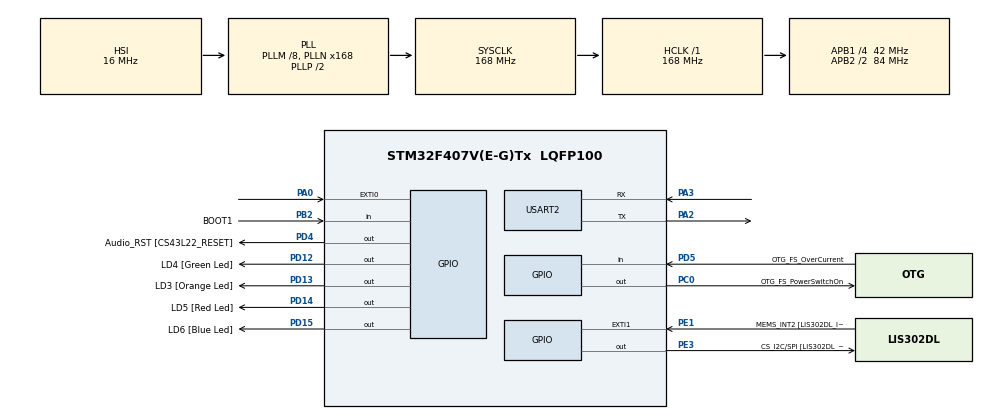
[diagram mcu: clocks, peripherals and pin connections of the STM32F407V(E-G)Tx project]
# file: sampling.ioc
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ADC1.Channel-0\#ChannelRegularConversion=ADC_CHANNEL_TEMPSENSOR
ADC1.ClockPrescaler=ADC_CLOCK_SYNC_PCLK_DIV4
ADC1.ContinuousConvMode=DISABLE
ADC1.DMAContinuousRequests=DISABLE
ADC1.DataAlign=ADC_DATAALIGN_RIGHT
ADC1.DiscontinuousConvMode=DISABLE
ADC1.EOCSelection=ADC_EOC_SINGLE_CONV
ADC1.EnableAnalogWatchDog=false
ADC1.ExternalTrigConv=ADC_EXTERNALTRIGCONV_T1_CC1
ADC1.ExternalTrigConvEdge=ADC_EXTERNALTRIGCONVEDGE_RISINGFALLING
ADC1.InjNumberOfConversion=0
ADC1.NbrOfConversion=1
ADC1.NbrOfConversionFlag=1
ADC1.Rank-0\#ChannelRegularConversion=1
ADC1.Resolution=ADC_RESOLUTION_12B
ADC1.SamplingTime-0\#ChannelRegularConversion=ADC_SAMPLETIME_3CYCLES
ADC1.ScanConvMode=DISABLE
ADC1.master=1
Dma.ADC1.0.Direction=DMA_PERIPH_TO_MEMORY
Dma.ADC1.0.FIFOMode=DMA_FIFOMODE_DISABLE
Dma.ADC1.0.Instance=DMA2_Stream0
Dma.ADC1.0.MemDataAlignment=DMA_MDATAALIGN_HALFWORD
Dma.ADC1.0.MemInc=DMA_MINC_ENABLE
Dma.ADC1.0.Mode=DMA_NORMAL
Dma.ADC1.0.PeriphDataAlignment=DMA_PDATAALIGN_HALFWORD
Dma.ADC1.0.PeriphInc=DMA_PINC_DISABLE
Dma.ADC1.0.Priority=DMA_PRIORITY_LOW
Dma.Request0=ADC1
Mcu.Family=STM32F4
Mcu.Name=STM32F407V(E-G)Tx
Mcu.Package=LQFP100
NVIC.ADC_IRQn=true\:0\:0\:false\:false\:true\:true\:true
NVIC.DMA2_Stream0_IRQn=true\:0\:0\:false\:false\:true\:false\:true
NVIC.EXTI0_IRQn=true\:0\:0\:false\:false\:true\:true\:true
NVIC.PriorityGroup=NVIC_PRIORITYGROUP_0
NVIC.TIM1_CC_IRQn=true\:0\:0\:false\:false\:true\:true\:true
NVIC.TIM2_IRQn=true\:0\:0\:false\:false\:true\:true\:true
NVIC.USART2_IRQn=true\:0\:0\:false\:false\:true\:true\:true
PA0-WKUP.GPIO_ModeDefaultEXTI=GPIO_MODE_IT_RISING
PA0-WKUP.GPIO_PuPd=GPIO_PULLDOWN
PA0-WKUP.Signal=GPXTI0
PA10.GPIO_Label=OTG_FS_ID
PA10.GPIO_Mode=GPIO_MODE_AF_PP
PA10.GPIO_PuPd=GPIO_NOPULL
PA10.GPIO_Speed=GPIO_SPEED_FREQ_LOW
PA10.Signal=USB_OTG_FS_ID
PA11.GPIO_Label=OTG_FS_DM
PA11.GPIO_Mode=GPIO_MODE_AF_PP
PA11.GPIO_PuPd=GPIO_NOPULL
PA11.GPIO_Speed=GPIO_SPEED_FREQ_LOW
PA11.Signal=USB_OTG_FS_DM
PA12.GPIO_Label=OTG_FS_DP
PA12.GPIO_Mode=GPIO_MODE_AF_PP
PA12.GPIO_PuPd=GPIO_NOPULL
PA12.GPIO_Speed=GPIO_SPEED_FREQ_LOW
PA12.Signal=USB_OTG_FS_DP
PA13.GPIO_Label=SWDIO
PA13.Signal=SYS_JTMS-SWDIO
PA14.GPIO_Label=SWCLK
PA14.Signal=SYS_JTCK-SWCLK
PA2.Mode=Asynchronous
PA2.Signal=USART2_TX
PA3.Mode=Asynchronous
PA3.Signal=USART2_RX
PA4.GPIO_Label=I2S3_WS [CS43L22_LRCK]
PA4.GPIO_Mode=GPIO_MODE_AF_PP
PA4.GPIO_PuPd=GPIO_NOPULL
PA4.GPIO_Speed=GPIO_SPEED_FREQ_LOW
PA4.Signal=I2S3_WS
PA5.GPIO_Label=SPI1_SCK [LIS302DL_SCL/SPC]
PA5.GPIO_Mode=GPIO_MODE_AF_PP
PA5.GPIO_PuPd=GPIO_NOPULL
PA5.GPIO_Speed=GPIO_SPEED_FREQ_LOW
PA5.Signal=SPI1_SCK
PA6.GPIO_Label=SPI1_MISO [LIS302DL_SDO]
PA6.GPIO_Mode=GPIO_MODE_AF_PP
PA6.GPIO_PuPd=GPIO_NOPULL
PA6.GPIO_Speed=GPIO_SPEED_FREQ_LOW
PA6.Signal=SPI1_MISO
PA7.GPIO_Label=SPI1_MOSI [LIS302DL_SDA/SDI/SDO]
PA7.GPIO_Mode=GPIO_MODE_AF_PP
PA7.GPIO_PuPd=GPIO_NOPULL
PA7.GPIO_Speed=GPIO_SPEED_FREQ_LOW
PA7.Signal=SPI1_MOSI
PA9.GPIO_Label=VBUS_FS
PA9.GPIO_Mode=GPIO_MODE_INPUT
PA9.GPIO_PuPd=GPIO_NOPULL
PA9.Signal=USB_OTG_FS_VBUS
PB10.GPIO_Label=CLK_IN [MP45DT02_CLK]
PB10.GPIO_Mode=GPIO_MODE_AF_PP
PB10.GPIO_PuPd=GPIO_NOPULL
PB10.GPIO_Speed=GPIO_SPEED_FREQ_LOW
PB10.Signal=I2S2_CK
PB2.GPIO_Label=BOOT1
PB2.GPIO_Mode=GPIO_MODE_INPUT
PB2.GPIO_PuPd=GPIO_NOPULL
PB2.Signal=GPIO_Input
PB3.GPIO_Label=SWO
PB3.Signal=SYS_JTDO-SWO
PB6.GPIO_Label=Audio_SCL [CS43L22_SCL]
PB6.GPIO_Mode=GPIO_MODE_AF_OD
PB6.GPIO_PuPd=GPIO_NOPULL
PB6.GPIO_Speed=GPIO_SPEED_FREQ_LOW
PB6.Signal=I2C1_SCL
PB9.GPIO_Label=Audio_SDA [CS43L22_SDA]
PB9.GPIO_Mode=GPIO_MODE_AF_OD
PB9.GPIO_PuPd=GPIO_NOPULL
PB9.GPIO_Speed=GPIO_SPEED_FREQ_LOW
PB9.Signal=I2C1_SDA
PC0.GPIO_Label=OTG_FS_PowerSwitchOn
PC0.GPIO_PuPd=GPIO_NOPULL
PC0.GPIO_Speed=GPIO_SPEED_FREQ_LOW
PC0.PinState=GPIO_PIN_SET
PC0.Signal=GPIO_Output
PC10.GPIO_Label=I2S3_SCK [CS43L22_SCLK]
PC10.GPIO_Mode=GPIO_MODE_AF_PP
PC10.GPIO_PuPd=GPIO_NOPULL
PC10.GPIO_Speed=GPIO_SPEED_FREQ_LOW
PC10.Signal=I2S3_CK
PC12.GPIO_Label=I2S3_SD [CS43L22_SDIN]
PC12.GPIO_Mode=GPIO_MODE_AF_PP
PC12.GPIO_PuPd=GPIO_NOPULL
PC12.GPIO_Speed=GPIO_SPEED_FREQ_LOW
PC12.Signal=I2S3_SD
PC14-OSC32_IN.GPIO_Label=PC14-OSC32_IN
PC14-OSC32_IN.Signal=RCC_OSC32_IN
PC15-OSC32_OUT.GPIO_Label=PC15-OSC32_OUT
PC15-OSC32_OUT.Signal=RCC_OSC32_OUT
PC3.GPIO_Label=PDM_OUT [MP45DT02_DOUT]
PC3.GPIO_Mode=GPIO_MODE_AF_PP
PC3.GPIO_PuPd=GPIO_NOPULL
PC3.GPIO_Speed=GPIO_SPEED_FREQ_LOW
PC3.Signal=I2S2_SD
PC7.GPIO_Label=I2S3_MCK [CS43L22_MCLK]
PC7.GPIO_Mode=GPIO_MODE_AF_PP
PC7.GPIO_PuPd=GPIO_NOPULL
PC7.GPIO_Speed=GPIO_SPEED_FREQ_LOW
PC7.Signal=I2S3_MCK
PD12.GPIO_Label=LD4 [Green Led]
PD12.GPIO_PuPd=GPIO_NOPULL
PD12.GPIO_Speed=GPIO_SPEED_FREQ_LOW
PD12.Signal=GPIO_Output
PD13.GPIO_Label=LD3 [Orange Led]
PD13.GPIO_PuPd=GPIO_NOPULL
PD13.GPIO_Speed=GPIO_SPEED_FREQ_LOW
PD13.Signal=GPIO_Output
PD14.GPIO_Label=LD5 [Red Led]
PD14.GPIO_PuPd=GPIO_NOPULL
PD14.GPIO_Speed=GPIO_SPEED_FREQ_LOW
PD14.Signal=GPIO_Output
PD15.GPIO_Label=LD6 [Blue Led]
PD15.GPIO_PuPd=GPIO_NOPULL
PD15.GPIO_Speed=GPIO_SPEED_FREQ_LOW
PD15.Signal=GPIO_Output
PD4.GPIO_Label=Audio_RST [CS43L22_RESET]
PD4.GPIO_PuPd=GPIO_NOPULL
PD4.GPIO_Speed=GPIO_SPEED_FREQ_LOW
PD4.Signal=GPIO_Output
PD5.GPIO_Label=OTG_FS_OverCurrent
PD5.GPIO_Mode=GPIO_MODE_INPUT
PD5.GPIO_PuPd=GPIO_NOPULL
PD5.Signal=GPIO_Input
PE1.GPIO_Label=MEMS_INT2 [LIS302DL_INT2]
PE1.GPIO_ModeDefaultEXTI=GPIO_MODE_EVT_RISING
PE1.GPIO_PuPd=GPIO_NOPULL
PE1.Signal=GPXTI1
PE3.GPIO_Label=CS_I2C/SPI [LIS302DL_CS_I2C/SPI]
PE3.GPIO_PuPd=GPIO_NOPULL
PE3.GPIO_Speed=GPIO_SPEED_FREQ_LOW
PE3.Signal=GPIO_Output
PH0-OSC_IN.GPIO_Label=PH0-OSC_IN
PH0-OSC_IN.Signal=RCC_OSC_IN
PH1-OSC_OUT.GPIO_Label=PH1-OSC_OUT
PH1-OSC_OUT.Signal=RCC_OSC_OUT
ProjectManager.HeapSize=0x200
ProjectManager.StackSize=0x400
ProjectManager.TargetToolchain=MDK-ARM V5
RCC.48MHZClocksFreq_Value=48000000
RCC.AHBFreq_Value=168000000
RCC.APB1CLKDivider=RCC_HCLK_DIV4
RCC.APB1Freq_Value=42000000
RCC.APB1TimFreq_Value=84000000
RCC.APB2CLKDivider=RCC_HCLK_DIV2
RCC.APB2Freq_Value=84000000
RCC.APB2TimFreq_Value=168000000
RCC.CortexFreq_Value=168000000
RCC.HCLKFreq_Value=168000000
RCC.HSE_VALUE=8000000
RCC.HSI_VALUE=16000000
RCC.LSE_VALUE=32768
RCC.PLLM=8
RCC.PLLN=168
RCC.PLLQ=7
RCC.SYSCLKFreq_VALUE=168000000
RCC.SYSCLKSource=RCC_SYSCLKSOURCE_PLLCLK
RCC.VCOOutputFreq_Value=336000000
TIM1.Channel-Output\ Compare1\ No\ Output=TIM_CHANNEL_1
TIM1.OCMode_1=TIM_OCMODE_TOGGLE
TIM2.Period=999
TIM2.Prescaler=0
USART2.VirtualMode=VM_ASYNC
VP_ADC1_TempSens_Input.Mode=IN-TempSens
VP_TIM1_VS_ClockSourceINT.Mode=Internal
VP_TIM1_VS_no_output1.Mode=Output Compare1 No Output
VP_TIM2_VS_ClockSourceINT.Mode=Internal
board=STM32F407G-DISC1

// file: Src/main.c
/* USER CODE BEGIN Header */
/**
  ******************************************************************************
  * @file           : main.c
  * @brief          : Main program body
  ******************************************************************************
  * @attention
  *
  * <h2><center>&copy; Copyright (c) 2019 STMicroelectronics.
  * All rights reserved.</center></h2>
  *
  * This software component is licensed by ST under BSD 3-Clause license,
  * the "License"; You may not use this file except in compliance with the
  * License. You may obtain a copy of the License at:
  *                        opensource.org/licenses/BSD-3-Clause
  *
  ******************************************************************************
  */
/* USER CODE END Header */

#include "main.h"
#include "stm32f4xx_hal.h"
/* USER CODE BEGIN Includes */
#include "string.h"
#include "stdio.h"
#include "math.h"
/* USER CODE END Includes */

ADC_HandleTypeDef hadc1;
DMA_HandleTypeDef hdma_adc1;

TIM_HandleTypeDef htim1;
TIM_HandleTypeDef htim2;

UART_HandleTypeDef huart2;

/* USER CODE BEGIN PV */
/* Private variables ---------------------------------------------------------*/
extern int flag;
int flag = 0;
extern int N;
extern double T;
extern double tow;
extern uint16_t buffer[1000];
uint16_t buffer[1000];
extern char line[128];
extern int counter;
float variance=0.0;
float med=0.0;
/* USER CODE END PV */

void SystemClock_Config(void);
static void MX_GPIO_Init(void);
static void MX_DMA_Init(void);
static void MX_TIM1_Init(void);
static void MX_TIM2_Init(void);
static void MX_USART2_UART_Init(void);
static void MX_ADC1_Init(void);
/* USER CODE BEGIN PFP */
/* Private function prototypes -----------------------------------------------*/

float convert (uint32_t val)
{
	float v25=val/0.76;
	float avg_slope=.0025;
	float temp=(((float)val-v25)*avg_slope)+25;
	return temp;

}
float mean()
{
}

float median(uint16_t* buffer, int N)
{
  int swapped = 1;
  int j = 0;
	uint32_t temp;

  while (swapped)
	{
    swapped = 0;
    j++;
    for (int i = 0; i < N - j; i++) {
      if (buffer[i] > buffer[i + 1]) {
        temp = buffer[i];
        buffer[i] = buffer[i + 1];
        buffer[i + 1] = temp;
        swapped = 0;
      }
    }
  }
	if(N %2 == 0){
		temp = (buffer[N/2] + buffer[(N/2) +1])/2;
	}
	else
		temp = buffer[(N+1)/2];
	return convert(temp);
}

float var (float fval)
{
	float var = 0.0;
	for(int i=0;i < N; i++)
	{
		var = pow(((float)buffer[i] - fval),2) + var;
	}
	var = (var/(float)N);
	var = pow(var,0.5);
	var=convert(var);
	return var;
}

void printline()
{
	if(hdma_adc1.State==HAL_DMA_STATE_READY)
		{

			uint32_t val=0;

			for(int i=0;i < N; i++)
				val+=buffer[i];
			float fval=(float)val/(float)N;
			float temp = convert(fval);

			variance = var(fval);
			med = median(buffer, N);
			sprintf(line,"sample=%d , temprature=%f , var=%f , median = %f",val,temp,variance,med);

			HAL_UART_Transmit(&huart2,(unsigned char*)line,strlen(line),100);
			HAL_UART_Transmit(&huart2,(unsigned char*)"\n",1,100);

			HAL_ADC_Stop_DMA(&hadc1);
			HAL_ADC_Start_DMA(&hadc1,(uint32_t *)buffer,N);
		}
}

/* USER CODE END PFP */

int main(void)
{

  /* MCU Configuration--------------------------------------------------------*/

  /* Reset of all peripherals, Initializes the Flash interface and the Systick. */
  HAL_Init();

  /* Configure the system clock */
  SystemClock_Config();

  /* Initialize all configured peripherals */
  MX_GPIO_Init();
  MX_DMA_Init();
  MX_TIM1_Init();
  MX_TIM2_Init();
  MX_USART2_UART_Init();
  MX_ADC1_Init();
  /* USER CODE BEGIN 2 */

	//while (HAL_UART_Receive(&huart2,(uint8_t *)array,3,100)!= HAL_OK){};
	//printline("Hi!");

  /* USER CODE END 2 */

  /* Infinite loop */
  while (1)
  {

    /* USER CODE BEGIN 3 */
//	if(active_mode)
//		process_dma();

  }

}

void HAL_TIM_PeriodElapsedCallback(TIM_HandleTypeDef *htim)
{
	if(htim == &htim2)
	{
		HAL_UART_Transmit(&huart2,(uint8_t*)"mean\n",5,100);
		printline();
		counter++;
		if( counter > (int)(tow/T) )
	 {
			HAL_UART_Transmit(&huart2,(uint8_t*)"end\n",4,100);

			HAL_TIM_Base_Stop(&htim1);
			HAL_TIM_OC_Stop_IT(&htim1,TIM_CHANNEL_1);

			HAL_TIM_Base_Stop_IT(&htim2);
		  counter = 0;
			flag = 0;
		}
	}
}
  /* USER CODE END 3 */

void SystemClock_Config(void)
{
  RCC_OscInitTypeDef RCC_OscInitStruct = {0};
  RCC_ClkInitTypeDef RCC_ClkInitStruct = {0};

  /** Configure the main internal regulator output voltage
  */
  __HAL_RCC_PWR_CLK_ENABLE();
  __HAL_PWR_VOLTAGESCALING_CONFIG(PWR_REGULATOR_VOLTAGE_SCALE1);
  /** Initializes the CPU, AHB and APB busses clocks
  */
  RCC_OscInitStruct.OscillatorType = RCC_OSCILLATORTYPE_HSI;
  RCC_OscInitStruct.HSIState = RCC_HSI_ON;
  RCC_OscInitStruct.HSICalibrationValue = RCC_HSICALIBRATION_DEFAULT;
  RCC_OscInitStruct.PLL.PLLState = RCC_PLL_ON;
  RCC_OscInitStruct.PLL.PLLSource = RCC_PLLSOURCE_HSI;
  RCC_OscInitStruct.PLL.PLLM = 8;
  RCC_OscInitStruct.PLL.PLLN = 168;
  RCC_OscInitStruct.PLL.PLLP = RCC_PLLP_DIV2;
  RCC_OscInitStruct.PLL.PLLQ = 7;
  if (HAL_RCC_OscConfig(&RCC_OscInitStruct) != HAL_OK)
  {
    Error_Handler();
  }
  /** Initializes the CPU, AHB and APB busses clocks
  */
  RCC_ClkInitStruct.ClockType = RCC_CLOCKTYPE_HCLK|RCC_CLOCKTYPE_SYSCLK
                              |RCC_CLOCKTYPE_PCLK1|RCC_CLOCKTYPE_PCLK2;
  RCC_ClkInitStruct.SYSCLKSource = RCC_SYSCLKSOURCE_PLLCLK;
  RCC_ClkInitStruct.AHBCLKDivider = RCC_SYSCLK_DIV1;
  RCC_ClkInitStruct.APB1CLKDivider = RCC_HCLK_DIV4;
  RCC_ClkInitStruct.APB2CLKDivider = RCC_HCLK_DIV2;

  if (HAL_RCC_ClockConfig(&RCC_ClkInitStruct, FLASH_LATENCY_5) != HAL_OK)
  {
    Error_Handler();
  }
}

static void MX_ADC1_Init(void)
{

  ADC_ChannelConfTypeDef sConfig = {0};

  /** Configure the global features of the ADC (Clock, Resolution, Data Alignment and number of conversion)
  */
  hadc1.Instance = ADC1;
  hadc1.Init.ClockPrescaler = ADC_CLOCK_SYNC_PCLK_DIV4;
  hadc1.Init.Resolution = ADC_RESOLUTION_12B;
  hadc1.Init.ScanConvMode = DISABLE;
  hadc1.Init.ContinuousConvMode = DISABLE;
  hadc1.Init.DiscontinuousConvMode = DISABLE;
  hadc1.Init.ExternalTrigConvEdge = ADC_EXTERNALTRIGCONVEDGE_RISINGFALLING;
  hadc1.Init.ExternalTrigConv = ADC_EXTERNALTRIGCONV_T1_CC1;
  hadc1.Init.DataAlign = ADC_DATAALIGN_RIGHT;
  hadc1.Init.NbrOfConversion = 1;
  hadc1.Init.DMAContinuousRequests = DISABLE;
  hadc1.Init.EOCSelection = ADC_EOC_SINGLE_CONV;
  if (HAL_ADC_Init(&hadc1) != HAL_OK)
  {
    Error_Handler();
  }
  /** Configure for the selected ADC regular channel its corresponding rank in the sequencer and its sample time.
  */
  sConfig.Channel = ADC_CHANNEL_TEMPSENSOR;
  sConfig.Rank = 1;
  sConfig.SamplingTime = ADC_SAMPLETIME_3CYCLES;
  if (HAL_ADC_ConfigChannel(&hadc1, &sConfig) != HAL_OK)
  {
    Error_Handler();
  }

}

static void MX_TIM1_Init(void)
{

  TIM_ClockConfigTypeDef sClockSourceConfig = {0};
  TIM_MasterConfigTypeDef sMasterConfig = {0};
  TIM_OC_InitTypeDef sConfigOC = {0};
  TIM_BreakDeadTimeConfigTypeDef sBreakDeadTimeConfig = {0};

  htim1.Instance = TIM1;
  htim1.Init.Prescaler = 0;
  htim1.Init.CounterMode = TIM_COUNTERMODE_UP;
  htim1.Init.Period = 0;
  htim1.Init.ClockDivision = TIM_CLOCKDIVISION_DIV1;
  htim1.Init.RepetitionCounter = 0;
  htim1.Init.AutoReloadPreload = TIM_AUTORELOAD_PRELOAD_DISABLE;
  if (HAL_TIM_Base_Init(&htim1) != HAL_OK)
  {
    Error_Handler();
  }
  sClockSourceConfig.ClockSource = TIM_CLOCKSOURCE_INTERNAL;
  if (HAL_TIM_ConfigClockSource(&htim1, &sClockSourceConfig) != HAL_OK)
  {
    Error_Handler();
  }
  if (HAL_TIM_OC_Init(&htim1) != HAL_OK)
  {
    Error_Handler();
  }
  sMasterConfig.MasterOutputTrigger = TIM_TRGO_RESET;
  sMasterConfig.MasterSlaveMode = TIM_MASTERSLAVEMODE_DISABLE;
  if (HAL_TIMEx_MasterConfigSynchronization(&htim1, &sMasterConfig) != HAL_OK)
  {
    Error_Handler();
  }
  sConfigOC.OCMode = TIM_OCMODE_TOGGLE;
  sConfigOC.Pulse = 0;
  sConfigOC.OCPolarity = TIM_OCPOLARITY_HIGH;
  sConfigOC.OCNPolarity = TIM_OCNPOLARITY_HIGH;
  sConfigOC.OCFastMode = TIM_OCFAST_DISABLE;
  sConfigOC.OCIdleState = TIM_OCIDLESTATE_RESET;
  sConfigOC.OCNIdleState = TIM_OCNIDLESTATE_RESET;
  if (HAL_TIM_OC_ConfigChannel(&htim1, &sConfigOC, TIM_CHANNEL_1) != HAL_OK)
  {
    Error_Handler();
  }
  sBreakDeadTimeConfig.OffStateRunMode = TIM_OSSR_DISABLE;
  sBreakDeadTimeConfig.OffStateIDLEMode = TIM_OSSI_DISABLE;
  sBreakDeadTimeConfig.LockLevel = TIM_LOCKLEVEL_OFF;
  sBreakDeadTimeConfig.DeadTime = 0;
  sBreakDeadTimeConfig.BreakState = TIM_BREAK_DISABLE;
  sBreakDeadTimeConfig.BreakPolarity = TIM_BREAKPOLARITY_HIGH;
  sBreakDeadTimeConfig.AutomaticOutput = TIM_AUTOMATICOUTPUT_DISABLE;
  if (HAL_TIMEx_ConfigBreakDeadTime(&htim1, &sBreakDeadTimeConfig) != HAL_OK)
  {
    Error_Handler();
  }

}

static void MX_TIM2_Init(void)
{

  TIM_ClockConfigTypeDef sClockSourceConfig = {0};
  TIM_MasterConfigTypeDef sMasterConfig = {0};

  htim2.Instance = TIM2;
  htim2.Init.Prescaler = 0;
  htim2.Init.CounterMode = TIM_COUNTERMODE_UP;
  htim2.Init.Period = 999;
  htim2.Init.ClockDivision = TIM_CLOCKDIVISION_DIV1;
  htim2.Init.AutoReloadPreload = TIM_AUTORELOAD_PRELOAD_DISABLE;
  if (HAL_TIM_Base_Init(&htim2) != HAL_OK)
  {
    Error_Handler();
  }
  sClockSourceConfig.ClockSource = TIM_CLOCKSOURCE_INTERNAL;
  if (HAL_TIM_ConfigClockSource(&htim2, &sClockSourceConfig) != HAL_OK)
  {
    Error_Handler();
  }
  sMasterConfig.MasterOutputTrigger = TIM_TRGO_RESET;
  sMasterConfig.MasterSlaveMode = TIM_MASTERSLAVEMODE_DISABLE;
  if (HAL_TIMEx_MasterConfigSynchronization(&htim2, &sMasterConfig) != HAL_OK)
  {
    Error_Handler();
  }

}

static void MX_USART2_UART_Init(void)
{

  huart2.Instance = USART2;
  huart2.Init.BaudRate = 115200;
  huart2.Init.WordLength = UART_WORDLENGTH_8B;
  huart2.Init.StopBits = UART_STOPBITS_1;
  huart2.Init.Parity = UART_PARITY_NONE;
  huart2.Init.Mode = UART_MODE_TX_RX;
  huart2.Init.HwFlowCtl = UART_HWCONTROL_NONE;
  huart2.Init.OverSampling = UART_OVERSAMPLING_16;
  if (HAL_UART_Init(&huart2) != HAL_OK)
  {
    Error_Handler();
  }

}

static void MX_DMA_Init(void)
{
  /* DMA controller clock enable */
  __HAL_RCC_DMA2_CLK_ENABLE();

  /* DMA interrupt init */
  /* DMA2_Stream0_IRQn interrupt configuration */
  HAL_NVIC_SetPriority(DMA2_Stream0_IRQn, 0, 0);
  HAL_NVIC_EnableIRQ(DMA2_Stream0_IRQn);

}

static void MX_GPIO_Init(void)
{
  GPIO_InitTypeDef GPIO_InitStruct = {0};

  /* GPIO Ports Clock Enable */
  __HAL_RCC_GPIOE_CLK_ENABLE();
  __HAL_RCC_GPIOC_CLK_ENABLE();
  __HAL_RCC_GPIOH_CLK_ENABLE();
  __HAL_RCC_GPIOA_CLK_ENABLE();
  __HAL_RCC_GPIOB_CLK_ENABLE();
  __HAL_RCC_GPIOD_CLK_ENABLE();

  /*Configure GPIO pin Output Level */
  HAL_GPIO_WritePin(CS_I2C_SPI_GPIO_Port, CS_I2C_SPI_Pin, GPIO_PIN_RESET);

  /*Configure GPIO pin Output Level */
  HAL_GPIO_WritePin(OTG_FS_PowerSwitchOn_GPIO_Port, OTG_FS_PowerSwitchOn_Pin, GPIO_PIN_SET);

  /*Configure GPIO pin Output Level */
  HAL_GPIO_WritePin(GPIOD, LD4_Pin|LD3_Pin|LD5_Pin|LD6_Pin
                          |Audio_RST_Pin, GPIO_PIN_RESET);

  /*Configure GPIO pin : CS_I2C_SPI_Pin */
  GPIO_InitStruct.Pin = CS_I2C_SPI_Pin;
  GPIO_InitStruct.Mode = GPIO_MODE_OUTPUT_PP;
  GPIO_InitStruct.Pull = GPIO_NOPULL;
  GPIO_InitStruct.Speed = GPIO_SPEED_FREQ_LOW;
  HAL_GPIO_Init(CS_I2C_SPI_GPIO_Port, &GPIO_InitStruct);

  /*Configure GPIO pin : OTG_FS_PowerSwitchOn_Pin */
  GPIO_InitStruct.Pin = OTG_FS_PowerSwitchOn_Pin;
  GPIO_InitStruct.Mode = GPIO_MODE_OUTPUT_PP;
  GPIO_InitStruct.Pull = GPIO_NOPULL;
  GPIO_InitStruct.Speed = GPIO_SPEED_FREQ_LOW;
  HAL_GPIO_Init(OTG_FS_PowerSwitchOn_GPIO_Port, &GPIO_InitStruct);

  /*Configure GPIO pin : PDM_OUT_Pin */
  GPIO_InitStruct.Pin = PDM_OUT_Pin;
  GPIO_InitStruct.Mode = GPIO_MODE_AF_PP;
  GPIO_InitStruct.Pull = GPIO_NOPULL;
  GPIO_InitStruct.Speed = GPIO_SPEED_FREQ_LOW;
  GPIO_InitStruct.Alternate = GPIO_AF5_SPI2;
  HAL_GPIO_Init(PDM_OUT_GPIO_Port, &GPIO_InitStruct);

  /*Configure GPIO pin : PA0 */
  GPIO_InitStruct.Pin = GPIO_PIN_0;
  GPIO_InitStruct.Mode = GPIO_MODE_IT_RISING;
  GPIO_InitStruct.Pull = GPIO_PULLDOWN;
  HAL_GPIO_Init(GPIOA, &GPIO_InitStruct);

  /*Configure GPIO pin : I2S3_WS_Pin */
  GPIO_InitStruct.Pin = I2S3_WS_Pin;
  GPIO_InitStruct.Mode = GPIO_MODE_AF_PP;
  GPIO_InitStruct.Pull = GPIO_NOPULL;
  GPIO_InitStruct.Speed = GPIO_SPEED_FREQ_LOW;
  GPIO_InitStruct.Alternate = GPIO_AF6_SPI3;
  HAL_GPIO_Init(I2S3_WS_GPIO_Port, &GPIO_InitStruct);

  /*Configure GPIO pins : SPI1_SCK_Pin SPI1_MISO_Pin SPI1_MOSI_Pin */
  GPIO_InitStruct.Pin = SPI1_SCK_Pin|SPI1_MISO_Pin|SPI1_MOSI_Pin;
  GPIO_InitStruct.Mode = GPIO_MODE_AF_PP;
  GPIO_InitStruct.Pull = GPIO_NOPULL;
  GPIO_InitStruct.Speed = GPIO_SPEED_FREQ_LOW;
  GPIO_InitStruct.Alternate = GPIO_AF5_SPI1;
  HAL_GPIO_Init(GPIOA, &GPIO_InitStruct);

  /*Configure GPIO pin : BOOT1_Pin */
  GPIO_InitStruct.Pin = BOOT1_Pin;
  GPIO_InitStruct.Mode = GPIO_MODE_INPUT;
  GPIO_InitStruct.Pull = GPIO_NOPULL;
  HAL_GPIO_Init(BOOT1_GPIO_Port, &GPIO_InitStruct);

  /*Configure GPIO pin : CLK_IN_Pin */
  GPIO_InitStruct.Pin = CLK_IN_Pin;
  GPIO_InitStruct.Mode = GPIO_MODE_AF_PP;
  GPIO_InitStruct.Pull = GPIO_NOPULL;
  GPIO_InitStruct.Speed = GPIO_SPEED_FREQ_LOW;
  GPIO_InitStruct.Alternate = GPIO_AF5_SPI2;
  HAL_GPIO_Init(CLK_IN_GPIO_Port, &GPIO_InitStruct);

  /*Configure GPIO pins : LD4_Pin LD3_Pin LD5_Pin LD6_Pin
                           Audio_RST_Pin */
  GPIO_InitStruct.Pin = LD4_Pin|LD3_Pin|LD5_Pin|LD6_Pin
                          |Audio_RST_Pin;
  GPIO_InitStruct.Mode = GPIO_MODE_OUTPUT_PP;
  GPIO_InitStruct.Pull = GPIO_NOPULL;
  GPIO_InitStruct.Speed = GPIO_SPEED_FREQ_LOW;
  HAL_GPIO_Init(GPIOD, &GPIO_InitStruct);

  /*Configure GPIO pins : I2S3_MCK_Pin I2S3_SCK_Pin I2S3_SD_Pin */
  GPIO_InitStruct.Pin = I2S3_MCK_Pin|I2S3_SCK_Pin|I2S3_SD_Pin;
  GPIO_InitStruct.Mode = GPIO_MODE_AF_PP;
  GPIO_InitStruct.Pull = GPIO_NOPULL;
  GPIO_InitStruct.Speed = GPIO_SPEED_FREQ_LOW;
  GPIO_InitStruct.Alternate = GPIO_AF6_SPI3;
  HAL_GPIO_Init(GPIOC, &GPIO_InitStruct);

  /*Configure GPIO pin : VBUS_FS_Pin */
  GPIO_InitStruct.Pin = VBUS_FS_Pin;
  GPIO_InitStruct.Mode = GPIO_MODE_INPUT;
  GPIO_InitStruct.Pull = GPIO_NOPULL;
  HAL_GPIO_Init(VBUS_FS_GPIO_Port, &GPIO_InitStruct);

  /*Configure GPIO pins : OTG_FS_ID_Pin OTG_FS_DM_Pin OTG_FS_DP_Pin */
  GPIO_InitStruct.Pin = OTG_FS_ID_Pin|OTG_FS_DM_Pin|OTG_FS_DP_Pin;
  GPIO_InitStruct.Mode = GPIO_MODE_AF_PP;
  GPIO_InitStruct.Pull = GPIO_NOPULL;
  GPIO_InitStruct.Speed = GPIO_SPEED_FREQ_LOW;
  GPIO_InitStruct.Alternate = GPIO_AF10_OTG_FS;
  HAL_GPIO_Init(GPIOA, &GPIO_InitStruct);

  /*Configure GPIO pin : OTG_FS_OverCurrent_Pin */
  GPIO_InitStruct.Pin = OTG_FS_OverCurrent_Pin;
  GPIO_InitStruct.Mode = GPIO_MODE_INPUT;
  GPIO_InitStruct.Pull = GPIO_NOPULL;
  HAL_GPIO_Init(OTG_FS_OverCurrent_GPIO_Port, &GPIO_InitStruct);

  /*Configure GPIO pins : Audio_SCL_Pin Audio_SDA_Pin */
  GPIO_InitStruct.Pin = Audio_SCL_Pin|Audio_SDA_Pin;
  GPIO_InitStruct.Mode = GPIO_MODE_AF_OD;
  GPIO_InitStruct.Pull = GPIO_PULLUP;
  GPIO_InitStruct.Speed = GPIO_SPEED_FREQ_LOW;
  GPIO_InitStruct.Alternate = GPIO_AF4_I2C1;
  HAL_GPIO_Init(GPIOB, &GPIO_InitStruct);

  /*Configure GPIO pin : MEMS_INT2_Pin */
  GPIO_InitStruct.Pin = MEMS_INT2_Pin;
  GPIO_InitStruct.Mode = GPIO_MODE_EVT_RISING;
  GPIO_InitStruct.Pull = GPIO_NOPULL;
  HAL_GPIO_Init(MEMS_INT2_GPIO_Port, &GPIO_InitStruct);

  /* EXTI interrupt init*/
  HAL_NVIC_SetPriority(EXTI0_IRQn, 0, 0);
  HAL_NVIC_EnableIRQ(EXTI0_IRQn);

}

void Error_Handler(void)
{
  while(1)
  {
  }
}

/************************ (C) COPYRIGHT STMicroelectronics *****END OF FILE****/
